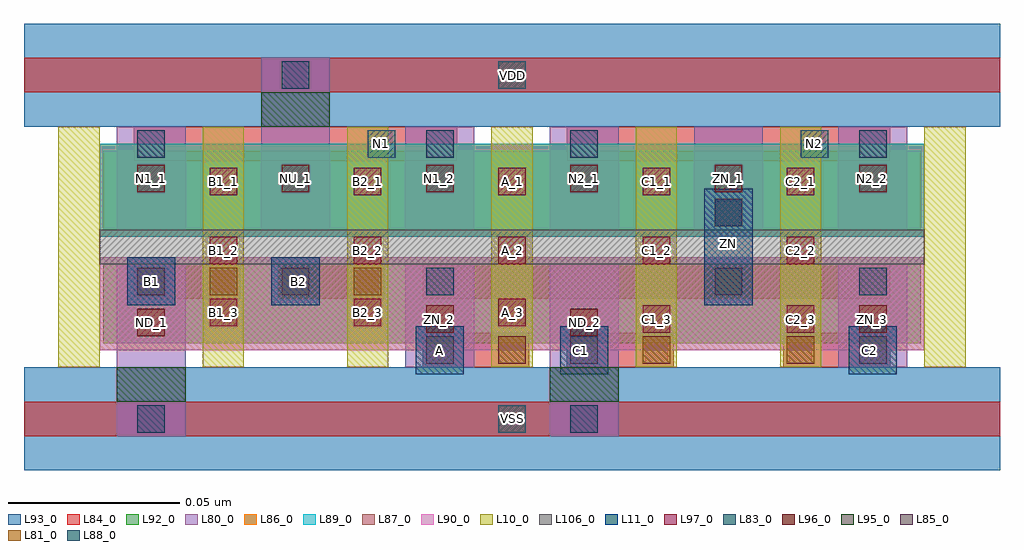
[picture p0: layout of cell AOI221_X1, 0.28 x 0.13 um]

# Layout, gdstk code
import gdstk
lib = gdstk.Library(unit=1e-6, precision=1e-09)
def R(c, l, rs):  # rectangles x0, y0, x1, y1
    for r in rs: c.add(gdstk.rectangle(r[:2], r[2:], *l))
def A(c, l, x, y, w, h, nx, ny, dx, dy):  # array of equal rectangles
    R(c, l, [(x+i*dx, y+j*dy, x+i*dx+w, y+j*dy+h) for i in range(nx) for j in range(ny)])
L10_0 = (10, 0)
L11_0 = (11, 0)
L80_0 = (80, 0)
L81_0 = (81, 0)
L83_0 = (83, 0)
L84_0 = (84, 0)
L85_0 = (85, 0)
L86_0 = (86, 0)
L87_0 = (87, 0)
L88_0 = (88, 0)
L89_0 = (89, 0)
L90_0 = (90, 0)
L92_0 = (92, 0)
L93_0 = (93, 0)
L95_0 = (95, 0)
L96_0 = (96, 0)
L97_0 = (97, 0)
L106_0 = (106, 0)

aoi221_x1 = lib.new_cell('AOI221_X1')
A(aoi221_x1, L10_0, -0.027, 0.015, 0.012, 0.07, 7, 1, 0.042, 0)
R(aoi221_x1, L11_0, [(0.077,0.013,0.091,0.027), (0.119,0.013,0.133,0.027), (0.203,0.013,0.217,0.027), (-0.007,0.033,0.007,0.047), (0.035,0.033,0.049,0.047), (0.161,0.033,0.175,0.067)])
A(aoi221_x1, L80_0, -0.01, 0.055, 0.02, 0.03, 6, 1, 0.042, 0)
R(aoi221_x1, L80_0, [(-0.01,-0.005,0.01,0.025), (0.116,-0.005,0.136,0.025), (-0.01,0.015,0.01,0.045), (0.074,0.015,0.094,0.045), (0.116,0.015,0.136,0.045), (0.2,0.015,0.22,0.045), (0.032,0.075,0.052,0.105)])
A(aoi221_x1, L81_0, 0.101, 0.016, 0.008, 0.008, 3, 1, 0.042, 0)
R(aoi221_x1, L81_0, [(0.017,0.036,0.025,0.044), (0.059,0.036,0.067,0.044)])
R(aoi221_x1, L83_0, [(-0.004,-0.004,0.004,0.004), (0.122,-0.004,0.13,0.004), (0.08,0.036,0.088,0.044), (0.164,0.036,0.172,0.044), (0.206,0.036,0.214,0.044), (0.164,0.056,0.172,0.064), (-0.004,0.076,0.004,0.084), (0.08,0.076,0.088,0.084), (0.122,0.076,0.13,0.084), (0.206,0.076,0.214,0.084), (0.038,0.096,0.046,0.104)])
A(aoi221_x1, L84_0, -0.005, 0.035, 0.031, 0.01, 3, 1, 0.042, 0)
A(aoi221_x1, L84_0, 0.1, 0.035, 0.031, 0.01, 5, 1, 0.021, 0)
A(aoi221_x1, L84_0, -0.005, 0.075, 0.031, 0.01, 4, 1, 0.021, 0)
A(aoi221_x1, L84_0, 0.121, 0.075, 0.031, 0.01, 4, 1, 0.021, 0)
R(aoi221_x1, L84_0, [(-0.037,-0.005,0.247,0.005), (0.079,0.015,0.11,0.025), (0.121,0.015,0.152,0.025), (0.184,0.015,0.215,0.025), (0.163,0.055,0.173,0.065), (-0.037,0.095,0.247,0.105)])
R(aoi221_x1, L85_0, [(0.08,0.016,0.088,0.024), (0.122,0.016,0.13,0.024), (0.206,0.016,0.214,0.024), (-0.004,0.036,0.004,0.044), (0.038,0.036,0.046,0.044), (0.164,0.036,0.172,0.044), (0.164,0.056,0.172,0.064)])
R(aoi221_x1, L86_0, [(-0.015,0.053,0.225,0.08)])
R(aoi221_x1, L87_0, [(-0.015,0.02,0.225,0.047)])
R(aoi221_x1, L88_0, [(0.101,-0.004,0.109,0.004), (0.063,0.076,0.071,0.084), (0.189,0.076,0.197,0.084), (0.101,0.096,0.109,0.104)])
R(aoi221_x1, L89_0, [(-0.015,0.053,0.225,0.08)])
R(aoi221_x1, L90_0, [(-0.015,0.02,0.225,0.047)])
R(aoi221_x1, L92_0, [(-0.014,0.022,0.224,0.045), (-0.014,0.055,0.224,0.078)])
R(aoi221_x1, L93_0, [(-0.037,-0.015,0.247,0.015), (-0.037,0.085,0.247,0.115)])
R(aoi221_x1, L95_0, [(-0.01,0.005,0.01,0.015), (0.116,0.005,0.136,0.015), (0.032,0.085,0.052,0.095)])
A(aoi221_x1, L96_0, -0.004, 0.066, 0.008, 0.008, 6, 1, 0.042, 0)
R(aoi221_x1, L96_0, [(-0.004,0.024,0.004,0.032), (0.122,0.024,0.13,0.032), (0.08,0.025,0.088,0.033), (0.206,0.025,0.214,0.033)])
A(aoi221_x1, L97_0, 0.017, 0.027, 0.008, 0.008, 3, 1, 0.042, 0)
A(aoi221_x1, L97_0, 0.017, 0.045, 0.008, 0.008, 5, 2, 0.042, 0.02)
R(aoi221_x1, L97_0, [(0.143,0.025,0.151,0.033), (0.185,0.025,0.193,0.033)])
R(aoi221_x1, L106_0, [(-0.015,0.045,0.225,0.055)])
aoi221_x1.add(gdstk.Label('C2', (0.209,0.02), layer=31, texttype=0))
aoi221_x1.add(gdstk.Label('C1', (0.125,0.02), layer=31, texttype=0))
aoi221_x1.add(gdstk.Label('A', (0.084,0.02), layer=31, texttype=0))
aoi221_x1.add(gdstk.Label('ZN', (0.168,0.051), layer=31, texttype=0))
aoi221_x1.add(gdstk.Label('B2', (0.043,0.04), layer=31, texttype=0))
aoi221_x1.add(gdstk.Label('B1', (0,0.04), layer=31, texttype=0))
aoi221_x1.add(gdstk.Label('ZN_2', (0.084,0.029), layer=96, texttype=0))
aoi221_x1.add(gdstk.Label('ZN_3', (0.21,0.029), layer=96, texttype=0))
aoi221_x1.add(gdstk.Label('ZN_1', (0.168,0.07), layer=96, texttype=0))
aoi221_x1.add(gdstk.Label('ND_2', (0.126,0.028), layer=96, texttype=0))
aoi221_x1.add(gdstk.Label('ND_1', (0,0.028), layer=96, texttype=0))
aoi221_x1.add(gdstk.Label('NU_1', (0.042,0.07), layer=96, texttype=0))
aoi221_x1.add(gdstk.Label('N2_1', (0.126,0.07), layer=96, texttype=0))
aoi221_x1.add(gdstk.Label('N2_2', (0.21,0.07), layer=96, texttype=0))
aoi221_x1.add(gdstk.Label('N1_1', (0,0.07), layer=96, texttype=0))
aoi221_x1.add(gdstk.Label('N1_2', (0.084,0.07), layer=96, texttype=0))
aoi221_x1.add(gdstk.Label('VDD', (0.105,0.1), layer=88, texttype=0))
aoi221_x1.add(gdstk.Label('VSS', (0.105,0), layer=88, texttype=0))
aoi221_x1.add(gdstk.Label('N2', (0.193,0.08), layer=88, texttype=0))
aoi221_x1.add(gdstk.Label('N1', (0.067,0.08), layer=88, texttype=0))
aoi221_x1.add(gdstk.Label('B1_3', (0.021,0.031), layer=97, texttype=0))
aoi221_x1.add(gdstk.Label('B1_2', (0.021,0.049), layer=97, texttype=0))
aoi221_x1.add(gdstk.Label('B1_1', (0.021,0.069), layer=97, texttype=0))
aoi221_x1.add(gdstk.Label('B2_3', (0.063,0.031), layer=97, texttype=0))
aoi221_x1.add(gdstk.Label('B2_2', (0.063,0.049), layer=97, texttype=0))
aoi221_x1.add(gdstk.Label('B2_1', (0.063,0.069), layer=97, texttype=0))
aoi221_x1.add(gdstk.Label('A_3', (0.105,0.031), layer=97, texttype=0))
aoi221_x1.add(gdstk.Label('A_2', (0.105,0.049), layer=97, texttype=0))
aoi221_x1.add(gdstk.Label('A_1', (0.105,0.069), layer=97, texttype=0))
aoi221_x1.add(gdstk.Label('C2_3', (0.189,0.029), layer=97, texttype=0))
aoi221_x1.add(gdstk.Label('C2_2', (0.189,0.049), layer=97, texttype=0))
aoi221_x1.add(gdstk.Label('C2_1', (0.189,0.069), layer=97, texttype=0))
aoi221_x1.add(gdstk.Label('C1_1', (0.147,0.069), layer=97, texttype=0))
aoi221_x1.add(gdstk.Label('C1_2', (0.147,0.049), layer=97, texttype=0))
aoi221_x1.add(gdstk.Label('C1_3', (0.147,0.029), layer=97, texttype=0))

lib.write_gds('AOI221_X1.gds')
